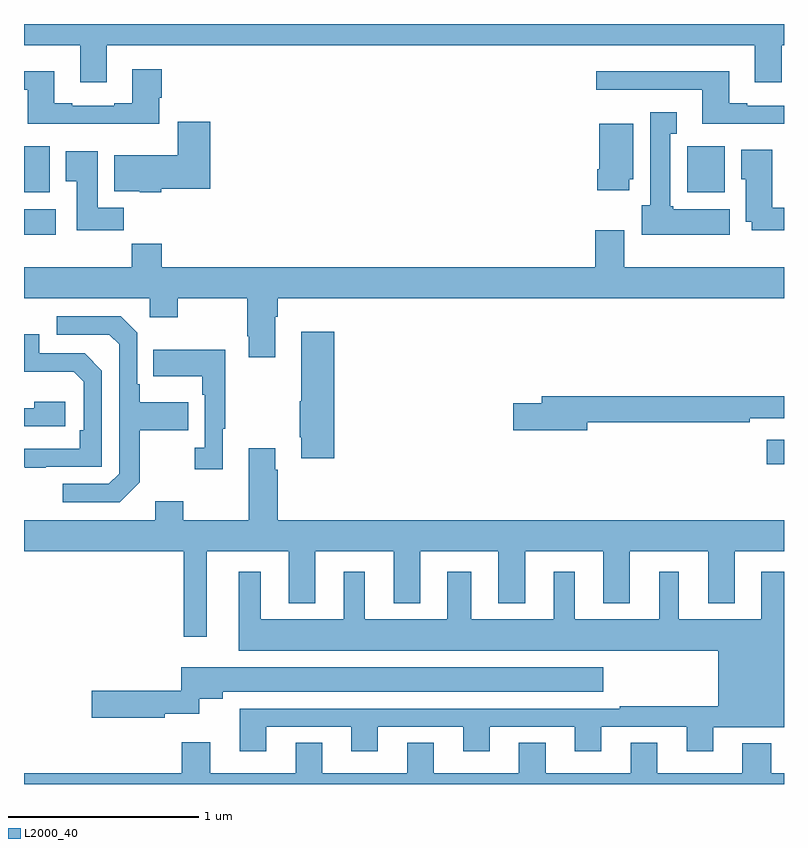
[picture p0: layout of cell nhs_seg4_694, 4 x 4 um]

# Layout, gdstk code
import gdstk
lib = gdstk.Library(unit=1e-6, precision=1e-09)
def R(c, l, rs):  # rectangles x0, y0, x1, y1
    for r in rs: c.add(gdstk.rectangle(r[:2], r[2:], *l))
def P(c, l, *ps):  # polygons
    for p in ps: c.add(gdstk.Polygon(p, *l))
L2000_40 = (2000, 40)

nhs_seg4_694 = lib.new_cell('nhs_seg4_694')
R(nhs_seg4_694, L2000_40, [(148.908,826.582,149,826.711), (145,827.792,145.168,827.926), (145,828.014,145.135,828.256), (148.49,828.014,148.687,828.256)])
P(nhs_seg4_694, L2000_40, [(145.435,828.788),(148.847,828.788),(148.847,828.594),(148.987,828.594),(148.987,828.788),(149,828.788),(149,828.9),(145,828.9),(145,828.788),(145.295,828.788),(145.295,828.594),(145.435,828.594)],
  [(145.711,828.513),(145.724,828.513),(145.724,828.661),(145.571,828.661),(145.571,828.484),(145.475,828.484),(145.475,828.471),(145.255,828.471),(145.255,828.484),(145.159,828.484),(145.159,828.652),(145,828.652),(145,828.555),(145.019,828.555),(145.019,828.374),(145.711,828.374)],
  [(149,828.471),(148.807,828.471),(148.807,828.484),(148.711,828.484),(148.711,828.652),(148.011,828.652),(148.011,828.555),(148.571,828.555),(148.571,828.374),(149,828.374)],
  [(148.714,827.926),(148.416,827.926),(148.416,827.94),(148.402,827.94),(148.402,828.323),(148.435,828.323),(148.435,828.436),(148.295,828.436),(148.295,827.946),(148.25,827.946),(148.25,827.792),(148.714,827.792)],
  [(145.722,828.032),(145.979,828.032),(145.979,828.385),(145.808,828.385),(145.808,828.208),(145.475,828.208),(145.475,828.02),(145.608,828.02),(145.608,828.014),(145.722,828.014)],
  [(148.186,828.084),(148.207,828.084),(148.207,828.376),(148.028,828.376),(148.028,828.136),(148.016,828.136),(148.016,828.024),(148.186,828.024)],
  [(149,827.932),(148.939,827.932),(148.939,828.238),(148.775,828.238),(148.775,828.084),(148.799,828.084),(148.799,827.858),(148.829,827.858),(148.829,827.814),(149,827.814)],
  [(145.526,827.932),(145.387,827.932),(145.387,828.229),(145.22,828.229),(145.22,828.073),(145.277,828.073),(145.277,827.814),(145.526,827.814)],
  [(146.323,827.36),(146.336,827.36),(146.336,827.456),(149,827.456),(149,827.62),(148.159,827.62),(148.159,827.815),(148.007,827.815),(148.007,827.62),(145.724,827.62),(145.724,827.744),(145.567,827.744),(145.567,827.62),(145,827.62),(145,827.456),(145.662,827.456),(145.662,827.357),(145.809,827.357),(145.809,827.456),(146.176,827.456),(146.176,827.257),(146.183,827.257),(146.183,827.145),(146.323,827.145)],
  [(145.609,826.489),(145.609,826.762),(145.865,826.762),(145.865,826.909),(145.609,826.909),(145.609,827.005),(145.596,827.005),(145.596,827.274),(145.509,827.361),(145.173,827.361),(145.173,827.265),(145.449,827.265),(145.5,827.214),(145.5,826.533),(145.446,826.479),(145.203,826.479),(145.203,826.383),(145.503,826.383)],
  [(146.632,827.281),(146.459,827.281),(146.459,826.915),(146.452,826.915),(146.452,826.726),(146.459,826.726),(146.459,826.614),(146.632,826.614)],
  [(145.115,826.569),(145.41,826.569),(145.41,827.076),(145.32,827.166),(145.08,827.166),(145.08,827.268),(145,827.268),(145,827.069),(145.261,827.069),(145.314,827.016),(145.314,826.762),(145.294,826.762),(145.294,826.665),(145,826.665),(145,826.569),(145.003,826.569),(145.003,826.564),(145.115,826.564)],
  [(146.047,826.769),(146.059,826.769),(146.059,827.185),(145.681,827.185),(145.681,827.045),(145.938,827.045),(145.938,826.949),(145.95,826.949),(145.95,826.67),(145.899,826.67),(145.899,826.557),(146.047,826.557)],
  [(147.964,826.804),(148.82,826.804),(148.82,826.824),(149,826.824),(149,826.94),(147.725,826.94),(147.725,826.904),(147.576,826.904),(147.576,826.762),(147.964,826.762)],
  [(145.216,826.912),(145.055,826.912),(145.055,826.878),(145,826.878),(145,826.782),(145.216,826.782)],
  [(145.963,826.124),(146.393,826.124),(146.393,825.851),(146.533,825.851),(146.533,826.124),(146.945,826.124),(146.945,825.851),(147.085,825.851),(147.085,826.124),(147.497,826.124),(147.497,825.851),(147.637,825.851),(147.637,826.124),(148.049,826.124),(148.049,825.851),(148.189,825.851),(148.189,826.124),(148.601,826.124),(148.601,825.851),(148.741,825.851),(148.741,826.124),(149,826.124),(149,826.288),(146.336,826.288),(146.336,826.553),(146.323,826.553),(146.323,826.666),(146.183,826.666),(146.183,826.288),(145.839,826.288),(145.839,826.387),(145.691,826.387),(145.691,826.288),(145,826.288),(145,826.124),(145.842,826.124),(145.842,825.675),(145.963,825.675)],
  [(146.275,825.201),(146.723,825.201),(146.723,825.072),(146.863,825.072),(146.863,825.201),(147.311,825.201),(147.311,825.072),(147.451,825.072),(147.451,825.201),(147.899,825.201),(147.899,825.072),(148.039,825.072),(148.039,825.201),(148.487,825.201),(148.487,825.072),(148.627,825.072),(148.627,825.2),(149,825.2),(149,826.018),(148.88,826.018),(148.88,825.766),(148.447,825.766),(148.447,826.018),(148.343,826.018),(148.343,825.766),(147.898,825.766),(147.898,826.018),(147.788,826.018),(147.788,825.766),(147.355,825.766),(147.355,826.018),(147.227,826.018),(147.227,825.766),(146.794,825.766),(146.794,826.018),(146.684,826.018),(146.684,825.766),(146.245,825.766),(146.245,826.018),(146.129,826.018),(146.129,825.602),(148.655,825.602),(148.655,825.31),(148.135,825.31),(148.135,825.297),(146.135,825.297),(146.135,825.072),(146.275,825.072)],
  [(145.74,825.269),(145.923,825.269),(145.923,825.35),(146.047,825.35),(146.047,825.386),(148.048,825.386),(148.048,825.514),(145.827,825.514),(145.827,825.392),(145.356,825.392),(145.356,825.25),(145.74,825.25)],
  [(149,824.956),(148.934,824.956),(148.934,825.115),(148.781,825.115),(148.781,824.956),(148.333,824.956),(148.333,825.116),(148.193,825.116),(148.193,824.956),(147.745,824.956),(147.745,825.116),(147.605,825.116),(147.605,824.956),(147.157,824.956),(147.157,825.116),(147.017,825.116),(147.017,824.956),(146.569,824.956),(146.569,825.116),(146.429,825.116),(146.429,824.956),(145.981,824.956),(145.981,825.121),(145.829,825.121),(145.829,824.956),(145,824.956),(145,824.9),(149,824.9)])

lib.write_gds('nhs_seg4_694.gds')
